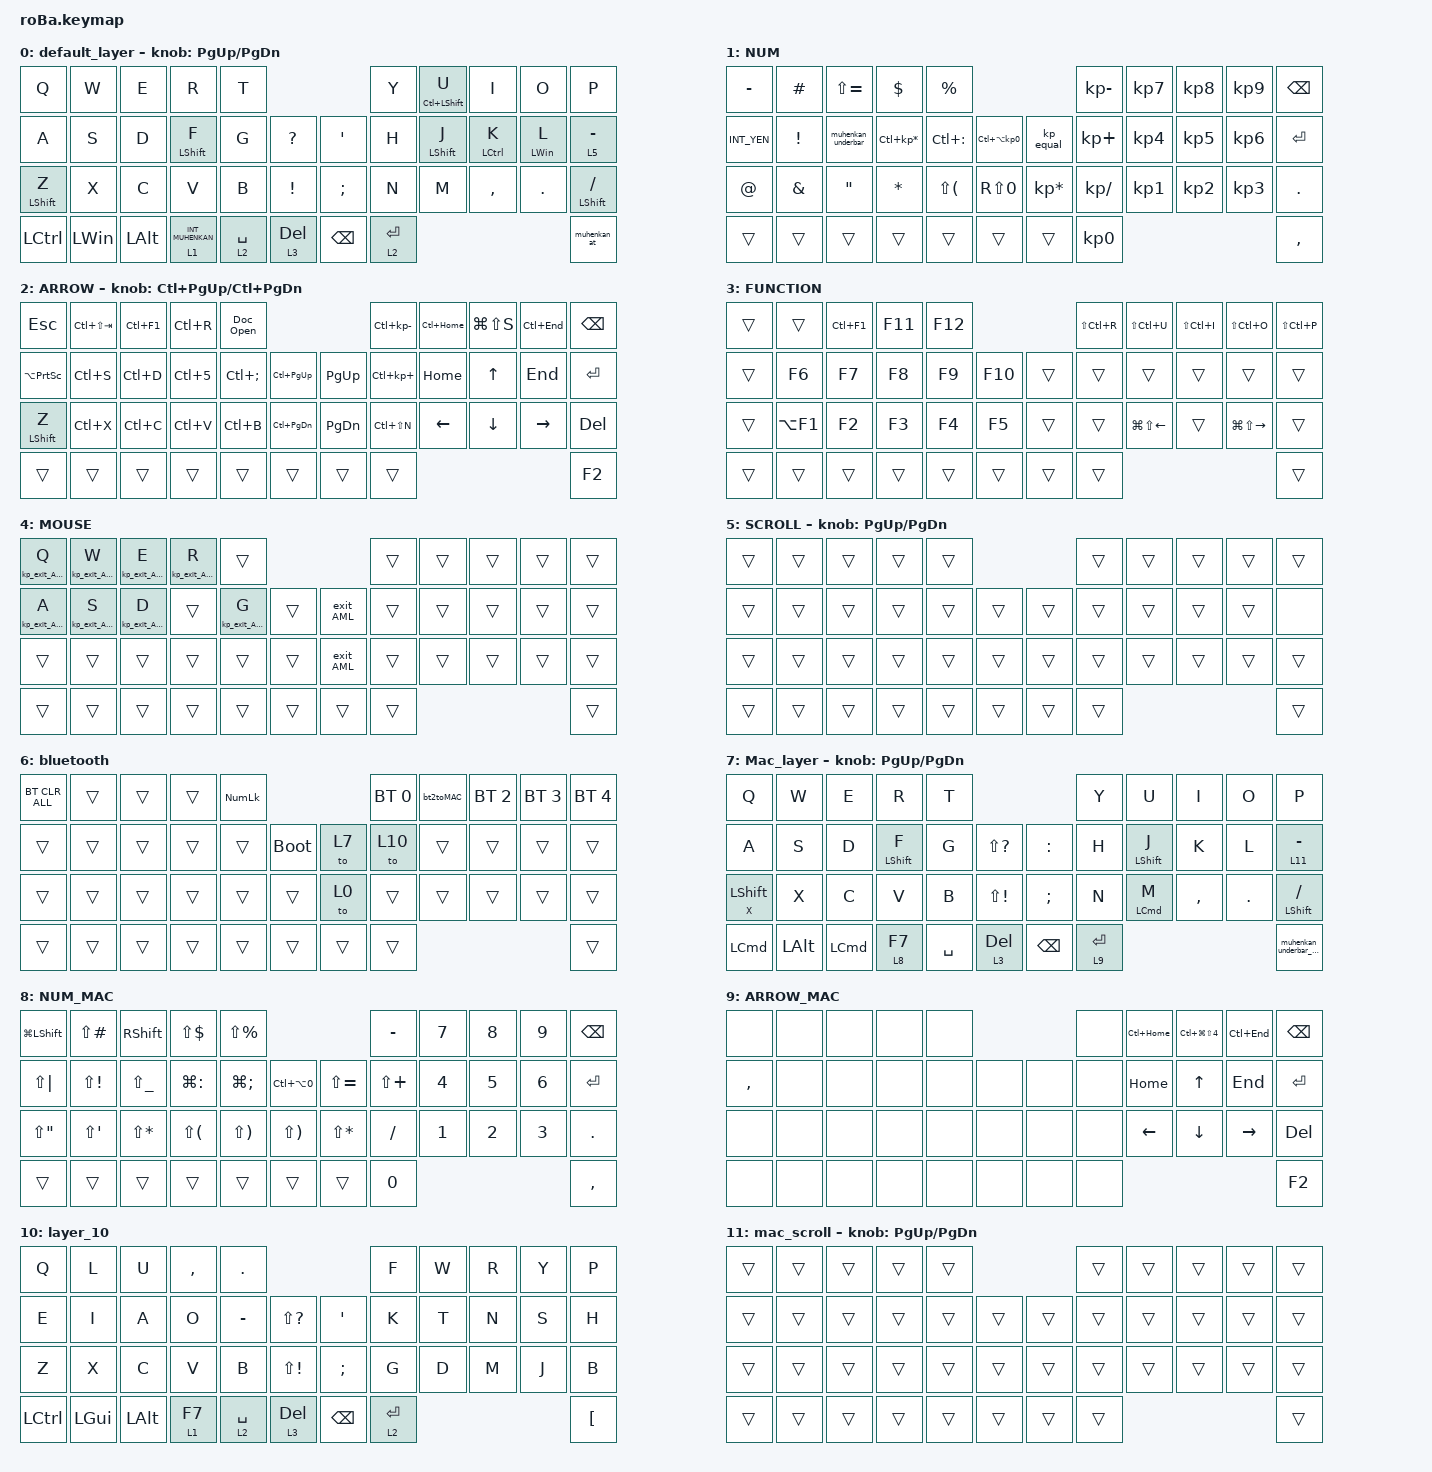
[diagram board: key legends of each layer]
#include <behaviors.dtsi>
#include <dt-bindings/zmk/bt.h>
#include <dt-bindings/zmk/keys.h>
#include <dt-bindings/zmk/pointing.h>
#include "keys_jp.h"

// OS設定を日本語キーボードのまま使用するための変換定義

#define JP_DQUOTE       AT
#define JP_AMPERSAND    CARET
#define JP_QUOTE        AMPERSAND
#define JP_EQUAL        UNDER
#define JP_CARET        EQUAL
#define JP_YEN          0x89
#define JP_PLUS         COLON
#define JP_TILDE        PLUS
#define JP_PIPE         LS(0x89)
#define JP_AT           LEFT_BRACKET
#define JP_COLON        SINGLE_QUOTE
#define JP_ASTERISK     DOUBLE_QUOTES
#define JP_BACKQUOTE    LEFT_BRACE
#define JP_UNDERSCORE   LS(0x87)
#define JP_SEMICOLON    SEMICOLON
#define JP_LBRACKET     RIGHT_BRACKET
#define JP_RBRACKET     BACKSLASH
#define JP_LPAREN       ASTERISK
#define JP_RPAREN       LEFT_PARENTHESIS
#define JP_LBRACE       RIGHT_BRACE
#define JP_RBRACE       PIPE
#define JP_KANA         LANGUAGE_1
#define JP_EISU         LANGUAGE_2
#define JP_HANZEN       GRAVE

//

#define MOUSE 4
#define SCROLL 5
#define NUM 1

&mt {
    flavor = "balanced";
    quick-tap-ms = <0>;
};

/ {
    combos {
        compatible = "zmk,combos";

        esc {
            bindings = <&kp ESC>;
            key-positions = <0 1>;
        };

        muhennkann {
            bindings = <&to_layer_0 TAB>;
            key-positions = <11 10>;
        };

        lanlan2 {
            bindings = <&kp LANGUAGE_2>;
            key-positions = <13 12>;
        };

        lanlan1 {
            bindings = <&kp LANG1>;
            key-positions = <18 19>;
        };

        ControlZ {
            bindings = <&kp LC(Z)>;
            key-positions = <22 23>;
        };

        ControlX {
            bindings = <&kp LC(X)>;
            key-positions = <23 24>;
        };

        ControlC {
            bindings = <&kp LC(C)>;
            key-positions = <24 25>;
        };

        ControlV {
            bindings = <&kp LC(V)>;
            key-positions = <25 26>;
        };

        bluetoothGo {
            bindings = <&to 6>;
            key-positions = <32 42>;
        };

        ControlY {
            bindings = <&kp LC(Y)>;
            key-positions = <5 6>;
        };

        parentheses {
            bindings = <&parentheses>;
            key-positions = <17 18>;
        };

        brackets {
            bindings = <&brackets>;
            key-positions = <29 30>;
        };

        leftclick {
            bindings = <&mkp MB1>;
            key-positions = <30 31>;
        };

        rightclick {
            bindings = <&mkp MB2>;
            key-positions = <31 32>;
        };

        backclick {
            bindings = <&mkp MB4>;
            key-positions = <32 33>;
        };

        windowslock {
            bindings = <&kp LG(L)>;
            key-positions = <16 28>;
        };
    };

    macros {
        to_layer_0: to_layer_0 {
            compatible = "zmk,behavior-macro-one-param";
            #binding-cells = <1>;
            bindings = <&to 0 &macro_param_1to1 &kp MACRO_PLACEHOLDER>;
            label = "TO_LAYER_0";
        };

        muhenkan_at: muhenkan_at {
            compatible = "zmk,behavior-macro";
            #binding-cells = <0>;
            bindings = <&kp LANGUAGE_2 &kp LEFT_BRACKET>;
            label = "MUHENKAN_AT";
        };

        Doc_Open: Doc_Open {
            compatible = "zmk,behavior-macro";
            #binding-cells = <0>;
            bindings =
                <&kp LC(C)>,
                <&macro_wait_time 700>,
                <&kp LG(R)>,
                <&macro_wait_time 700>,
                <&kp LC(V)>,
                <&macro_wait_time 700>,
                <&kp KP_ENTER>;

            label = "DOC_OPEN";
        };

        muhenkan_underbar: muhenkan_underbar {
            compatible = "zmk,behavior-macro";
            #binding-cells = <0>;
            bindings = <&kp LANGUAGE_2 &kp JP_UNDERSCORE>;
            label = "MUHENKAN_UNDERBAR";
        };

        parentheses: parentheses {
            compatible = "zmk,behavior-macro";
            #binding-cells = <0>;
            bindings = <&kp LANGUAGE_2 &kp JP_LPAREN &kp JP_RPAREN &kp_exit_AML LEFT>;
            label = "PARENTHESES";
        };

        brackets: brackets {
            compatible = "zmk,behavior-macro";
            #binding-cells = <0>;
            bindings = <&kp LANGUAGE_2 &kp JP_LBRACKET &kp JP_RBRACKET &kp_exit_AML LEFT>;
            label = "BRACKETS";
        };

        esc_eisu: esc_eisu {
            compatible = "zmk,behavior-macro";
            #binding-cells = <0>;
            bindings = <&kp ESCAPE &kp JP_EISU>;
            label = "ESC_EISU";
        };

        mkp_exit_AML: mkp_exit_AML {
            compatible = "zmk,behavior-macro-one-param";
            #binding-cells = <1>;
            bindings =
                <&macro_press>,
                <&macro_param_1to1 &mkp MACRO_PLACEHOLDER>,
                <&macro_pause_for_release>,
                <&macro_release>,
                <&macro_param_1to1 &mkp MACRO_PLACEHOLDER>,
                <&macro_tap>,
                <&sl 4>;

            label = "MKP_EXIT_AML";
        };

        caps_word_exit_AML: caps_word_exit_AML {
            compatible = "zmk,behavior-macro";
            #binding-cells = <0>;
            bindings = <&exit_AML &caps_word>;
            label = "caps_word_exit_AML";
        };

        sk_shift_exit_AML: sk_shift_exit_AML {
            compatible = "zmk,behavior-macro";
            #binding-cells = <0>;
            bindings = <&exit_AML &sk LEFT_SHIFT>;
            label = "SK_SHIFT_EXIT_AML";
        };

        exit_AML: exit_AML {
            compatible = "zmk,behavior-macro";
            wait-ms = <0>;
            tap-ms = <0>;
            #binding-cells = <0>;
            bindings = <&tog_off 4>;
            label = "exit_AML";
        };

        kp_exit_AML: kp_exit_AML {
            compatible = "zmk,behavior-macro-one-param";
            wait-ms = <0>;
            tap-ms = <0>;
            #binding-cells = <1>;
            bindings = <&macro_param_1to1 &kp MACRO_PLACEHOLDER &exit_AML>;
            label = "KP_exit_AML";
        };

        mo_exit_AML: mo_exit_AML {
            compatible = "zmk,behavior-macro-one-param";
            wait-ms = <0>;
            tap-ms = <0>;
            #binding-cells = <1>;
            bindings =
                <&macro_press>,
                <&macro_param_1to1 &mo MACRO_PLACEHOLDER>,
                <&macro_tap>,
                <&exit_AML>,
                <&macro_pause_for_release>,
                <&macro_release>,
                <&macro_param_1to1 &mo MACRO_PLACEHOLDER>,
                <&macro_tap>;

            label = "MO_exit_AML";
        };

        toggle_mute: toggle_mute {
            compatible = "zmk,behavior-macro";
            #binding-cells = <0>;
            bindings = <&kp LA(A) &kp LC(LS(M))>;
            label = "TOGGLE_MUTE";
            wait-ms = <30>;
            tap-ms = <30>;
        };

        wait: wait {
            compatible = "zmk,behavior-macro";
            #binding-cells = <0>;
            bindings = <&macro_wait_time 200>;
            label = "WAIT";
        };

        bluetooth: bluetooth {
            compatible = "zmk,behavior-macro";
            #binding-cells = <0>;
            bindings =
                <&kp LEFT_WIN>,
                <&macro_wait_time 700>,
                <&kp B &kp L &kp U &kp E &kp T &kp O &kp O &kp T &kp H &kp KP_ENTER>;

            label = "BLUETOOTH";
        };

        notepad: notepad {
            compatible = "zmk,behavior-macro";
            #binding-cells = <0>;
            bindings =
                <&kp LG(R)>,
                <&macro_wait_time 500>,
                <&kp N &kp O &kp T &kp E &kp P &kp A &kp D &kp KP_ENTER>;

            label = "NOTEPAD";
        };

        kp_equal: kp_equal {
            compatible = "zmk,behavior-macro";
            #binding-cells = <0>;
            bindings = <&kp LANGUAGE_2 &kp RS(UNDERSCORE)>;
            label = "KP_EQUAL";
        };

        muhenkan_underbar_mac: muhenkan_underbar_mac {
            compatible = "zmk,behavior-macro";
            #binding-cells = <0>;
            bindings = <&kp LANGUAGE_2 &kp AT_SIGN>;
            label = "MUHENKAN_UNDERBAR_MAC";
        };

        bt2toMAC: bt2toMAC {
            compatible = "zmk,behavior-macro";
            #binding-cells = <0>;
            bindings = <&bt BT_SEL 1 &to 7>;
            label = "BT2TOMAC";
        };

        key000: key000 {
            compatible = "zmk,behavior-macro";
            #binding-cells = <0>;
            bindings = <&kp KP_NUMBER_0 &kp KP_NUMBER_0 &kp KP_NUMBER_0>;
            label = "KEY000";
        };

        // Commented out as currently unused, but may be used in the future 
        // mod_exit_AML: mod_exit_AML {
        //     compatible = "zmk,behavior-macro-one-param";
        //     wait-ms = <0>;
        //     tap-ms = <0>;
        //     #binding-cells = <1>;
        //     bindings =
        //         <&macro_press>,
        //         <&macro_param_1to1 &kp MACRO_PLACEHOLDER>,
        //         <&macro_tap>,
        //         <&exit_AML>,
        //         <&macro_pause_for_release>,
        //         <&macro_release>,
        //         <&macro_param_1to1 &kp MACRO_PLACEHOLDER>;
        //     label = "MOD_exit_AML";
        // };
    };

    behaviors {
        tog_off: toggle_layer_off {
            compatible = "zmk,behavior-toggle-layer";
            #binding-cells = <1>;
            display-name = "Toggle Layer Off";
            toggle-mode = "off";
        };

        // Commented out as currently unused, but may be used in the future 
        // lt_exit_AML: lt_exit_AML {
        //     compatible = "zmk,behavior-hold-tap";
        //     label = "LT_exit_AML";
        //     bindings = <&mo_exit_AML>, <&kp_exit_AML>;
        //     #binding-cells = <2>;
        //     tapping-term-ms = <200>;
        //     quick-tap-ms = <200>;
        //     flavor = "balanced";
        // };
        // lt_exit_AML_on_hold: lt_exit_AML_on_hold {
        //     compatible = "zmk,behavior-hold-tap";
        //     label = "LT_exit_AML_ON_HOLD";
        //     bindings = <&mo_exit_AML>, <&kp>;
        //     #binding-cells = <2>;
        //     tapping-term-ms = <200>;
        //     quick-tap-ms = <200>;
        //     flavor = "balanced";
        // };
        // mt_exit_AML: mt_exit_AML {
        //     compatible = "zmk,behavior-hold-tap";
        //     label = "MT_exit_AML";
        //     bindings = <&mod_exit_AML>, <&kp_exit_AML>;
        //     #binding-cells = <2>;
        //     tapping-term-ms = <200>;
        //     flavor = "balanced";
        //     quick-tap-ms = <200>;
        // };

        mt_exit_AML_on_tap: mt_exit_AML_on_tap {
            compatible = "zmk,behavior-hold-tap";
            label = "MT_exit_AML_ON_TAP";
            bindings = <&kp>, <&kp_exit_AML>;

            #binding-cells = <2>;
            tapping-term-ms = <200>;
            flavor = "balanced";
            quick-tap-ms = <200>;
        };
    };

    behaviors {
        lt_to_layer_0: lt_to_layer_0 {
            compatible = "zmk,behavior-hold-tap";
            label = "LAYER_TAP_TO_0";
            bindings = <&mo>, <&to_layer_0>;

            #binding-cells = <2>;
            tapping-term-ms = <200>;
        };
    };

    keymap {
        compatible = "zmk,keymap";

        default_layer {
            bindings = <
&kp Q             &kp W         &kp E         &kp R               &kp T                                               &kp Y        &mt LC(LEFT_SHIFT) U  &kp I               &kp O           &kp P
&kp A             &kp S         &kp D         &mt LEFT_SHIFT F    &kp G        &kp QUESTION         &kp SINGLE_QUOTE  &kp H        &mt LEFT_SHIFT J      &mt LEFT_CONTROL K  &mt LEFT_WIN L  &lt 5 MINUS
&mt LEFT_SHIFT Z  &kp X         &kp C         &kp V               &kp B        &kp EXCLAMATION      &kp SEMICOLON     &kp N        &kp M                 &kp COMMA           &kp DOT         &mt LEFT_SHIFT SLASH
&kp LCTRL         &kp LEFT_WIN  &kp LEFT_ALT  &lt 1 INT_MUHENKAN  &lt 2 SPACE  &lt 3 DEL            &kp BACKSPACE     &lt 2 ENTER                                                            &muhenkan_at
            >;

            sensor-bindings = <&inc_dec_kp PG_UP PAGE_DOWN>;
        };

        NUM {
            bindings = <
&kp MINUS    &kp HASH         &kp LS(EQUAL)       &kp DOLLAR           &kp PERCENT                                                             &kp KP_MINUS     &kp KP_NUMBER_7  &kp KP_NUMBER_8  &kp KP_NUMBER_9  &kp BACKSPACE
&kp INT_YEN  &kp EXCLAMATION  &muhenkan_underbar  &kp LC(KP_MULTIPLY)  &kp LC(COLON)             &kp LC(LA(KP_NUMBER_0))      &kp_equal        &kp KP_PLUS      &kp KP_NUMBER_4  &kp KP_NUMBER_5  &kp KP_NUMBER_6  &kp ENTER
&kp AT_SIGN  &kp AMPERSAND    &kp DOUBLE_QUOTES   &kp ASTERISK         &kp LS(LEFT_PARENTHESIS)  &kp RS(N0)                   &kp KP_ASTERISK  &kp KP_DIVIDE    &kp KP_NUMBER_1  &kp KP_NUMBER_2  &kp KP_NUMBER_3  &kp PERIOD
&trans       &trans           &trans              &trans               &trans                    &trans                       &trans           &kp KP_NUMBER_0                                                     &kp COMMA
            >;
        };

        ARROW {
            bindings = <
&kp ESCAPE           &kp LC(LS(TAB))  &kp LC(F1)  &kp LC(R)   &Doc_Open                                                &kp LC(KP_MINUS)  &kp LC(HOME)  &kp LG(LS(S))  &kp LC(END)  &kp BACKSPACE
&kp LA(PRINTSCREEN)  &kp LC(S)        &kp LC(D)   &kp LC(N5)  &kp LC(SEMICOLON)  &kp LC(PAGE_UP)        &kp PAGE_UP    &kp LC(KP_PLUS)   &kp HOME      &kp UP_ARROW   &kp END      &kp ENTER
&mt LEFT_SHIFT Z     &kp LC(X)        &kp LC(C)   &kp LC(V)   &kp LC(B)          &kp LC(PAGE_DOWN)      &kp PAGE_DOWN  &kp LC(LS(N))     &kp LEFT      &kp DOWN       &kp RIGHT    &kp DELETE
&trans               &trans           &trans      &trans      &trans             &trans                 &trans         &trans                                                      &kp F2
            >;

            sensor-bindings = <&inc_dec_kp LC(PAGE_UP) LC(PAGE_DOWN)>;
        };

        FUNCTION {
            bindings = <
&trans  &trans      &kp LC(F1)  &kp F11  &kp F12                       &kp LS(LC(R))  &kp LS(LC(U))     &kp LS(LC(I))  &kp LS(LC(O))      &kp LS(LC(P))
&trans  &kp F6      &kp F7      &kp F8   &kp F9   &kp F10      &trans  &trans         &trans            &trans         &trans             &trans
&trans  &kp LA(F1)  &kp F2      &kp F3   &kp F4   &kp F5       &trans  &trans         &kp LG(LS(LEFT))  &trans         &kp LG(LS(RIGHT))  &trans
&trans  &trans      &trans      &trans   &trans   &trans       &trans  &trans                                                             &trans
            >;
        };

        MOUSE {
            bindings = <
&kp_exit_AML Q  &kp_exit_AML W  &kp_exit_AML E  &kp_exit_AML R  &trans                                 &trans  &trans  &trans  &trans  &trans
&kp_exit_AML A  &kp_exit_AML S  &kp_exit_AML D  &trans          &kp_exit_AML G  &trans      &exit_AML  &trans  &trans  &trans  &trans  &trans
&trans          &trans          &trans          &trans          &trans          &trans      &exit_AML  &trans  &trans  &trans  &trans  &trans
&trans          &trans          &trans          &trans          &trans          &trans      &trans     &trans                          &trans
            >;
        };

        SCROLL {
            bindings = <
&trans  &trans  &trans  &trans  &trans                      &trans  &trans  &trans  &trans  &trans
&trans  &trans  &trans  &trans  &trans  &trans      &trans  &trans  &trans  &trans  &trans  &none
&trans  &trans  &trans  &trans  &trans  &trans      &trans  &trans  &trans  &trans  &trans  &trans
&trans  &trans  &trans  &trans  &trans  &trans      &trans  &trans                          &trans
            >;

            sensor-bindings = <&inc_dec_kp PAGE_UP PAGE_DOWN>;
        };

        bluetooth {
            bindings = <
&bt BT_CLR_ALL  &trans  &trans  &trans  &kp KP_NUMLOCK                           &bt BT_SEL 0  &bt2toMAC  &bt BT_SEL 2  &bt BT_SEL 3  &bt BT_SEL 4
&trans          &trans  &trans  &trans  &trans          &bootloader      &to 7   &to 10        &trans     &trans        &trans        &trans
&trans          &trans  &trans  &trans  &trans          &trans           &to 0   &trans        &trans     &trans        &trans        &trans
&trans          &trans  &trans  &trans  &trans          &trans           &trans  &trans                                               &trans
            >;
        };

        Mac_layer {
            bindings = <
&kp Q             &kp W     &kp E             &kp R             &kp T                                    &kp Y        &kp U               &kp I      &kp O    &kp P
&kp A             &kp S     &kp D             &mt LEFT_SHIFT F  &kp G      &kp LS(QMARK)      &kp COLON  &kp H        &mt LEFT_SHIFT J    &kp K      &kp L    &lt 11 MINUS
&mt X LEFT_SHIFT  &kp X     &kp C             &kp V             &kp B      &kp LS(EXCL)       &kp SEMI   &kp N        &mt LEFT_COMMAND M  &kp COMMA  &kp DOT  &mt LEFT_SHIFT SLASH
&kp LEFT_COMMAND  &kp LALT  &kp LEFT_COMMAND  &lt 8 F7          &kp SPACE  &lt 3 DELETE       &kp BSPC   &lt 9 ENTER                                          &muhenkan_underbar_mac
            >;

            sensor-bindings = <&inc_dec_kp PAGE_UP PAGE_DOWN>;
        };

        NUM_MAC {
            bindings = <
&kp LG(LSHFT)  &kp LS(POUND)  &kp RSHFT      &kp LS(DLLR)   &kp LS(PRCNT)                                     &kp MINUS     &kp N7  &kp N8  &kp N9  &kp BSPC
&kp LS(PIPE)   &kp LS(EXCL)   &kp LS(UNDER)  &kp LG(COLON)  &kp LG(SEMI)   &kp LC(LA(N0))      &kp LS(EQUAL)  &kp LS(PLUS)  &kp N4  &kp N5  &kp N6  &kp RET
&kp LS(DQT)    &kp LS(SQT)    &kp LS(STAR)   &kp LS(LPAR)   &kp LS(RPAR)   &kp LS(RPAR)        &kp LS(STAR)   &kp FSLH      &kp N1  &kp N2  &kp N3  &kp DOT
&trans         &trans         &trans         &trans         &trans         &trans              &trans         &kp N0                                &kp COMMA
            >;
        };

        ARROW_MAC {
            bindings = <
&none      &none  &none  &none  &none                    &none  &kp LC(HOME)  &kp LC(LG(LS(NUMBER_4)))  &kp LC(END)  &kp BSPC
&kp COMMA  &none  &none  &none  &none  &none      &none  &none  &kp HOME      &kp UP                    &kp END      &kp RET
&none      &none  &none  &none  &none  &none      &none  &none  &kp LEFT      &kp DOWN                  &kp RIGHT    &kp DEL
&none      &none  &none  &none  &none  &none      &none  &none                                                       &kp F2
            >;
        };

        layer_10 {
            bindings = <
&kp Q      &kp L     &kp U     &kp COMMA  &kp DOT                                   &kp F        &kp W  &kp R  &kp Y  &kp P
&kp E      &kp I     &kp A     &kp O      &kp MINUS    &kp LS(QMARK)      &kp SQT   &kp K        &kp T  &kp N  &kp S  &kp H
&kp Z      &kp X     &kp C     &kp V      &kp B        &kp LS(EXCL)       &kp SEMI  &kp G        &kp D  &kp M  &kp J  &kp B
&kp LCTRL  &kp LGUI  &kp LALT  &lt 1 F7   &lt 2 SPACE  &lt 3 DELETE       &kp BSPC  &lt 2 ENTER                       &kp LBKT
            >;
        };

        mac_scroll {
            bindings = <
&trans  &trans  &trans  &trans  &trans                      &trans  &trans  &trans  &trans  &trans
&trans  &trans  &trans  &trans  &trans  &trans      &trans  &trans  &trans  &trans  &trans  &trans
&trans  &trans  &trans  &trans  &trans  &trans      &trans  &trans  &trans  &trans  &trans  &trans
&trans  &trans  &trans  &trans  &trans  &trans      &trans  &trans                          &trans
            >;

            sensor-bindings = <&inc_dec_kp PAGE_UP PAGE_DOWN>;
        };
    };
};
